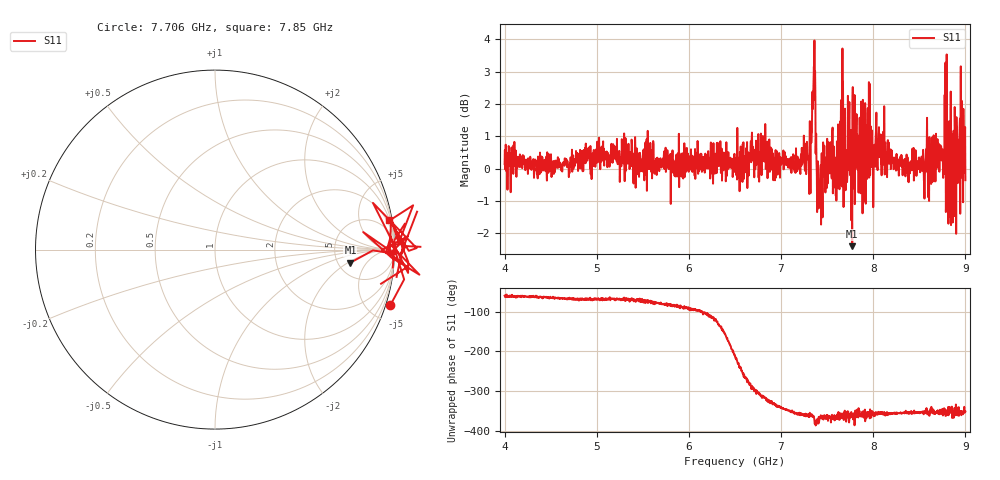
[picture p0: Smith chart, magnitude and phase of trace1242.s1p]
! Created with skrf 1.8.0 (http://scikit-rf.org).
# Hz S RI R 50.0
!freq ReS11 ImS11
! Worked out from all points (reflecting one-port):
!   1601 points, 4 GHz to 9 GHz, reference 50 ohm
!   lowest |S11| = -2.4 dB at 7.772 GHz (marker M1), VSWR 7.26, Z = 324 - j111 ohm
!   phase of S11 starts at -60 deg and turns -292 deg over the sweep
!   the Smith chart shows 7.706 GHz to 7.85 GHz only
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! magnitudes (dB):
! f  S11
! 4 GHz  0.1
! 4.625 GHz  -0.1
! 5.25 GHz  -0.4
! 5.875 GHz  0.3
! 6.5 GHz  0.0
! 6.806 GHz  0.6
! 6.941 GHz  0.6
! 7.125 GHz  0.3
! 7.294 GHz  0.3
! 7.322 GHz  0.9
! 7.347 GHz  2.0
! 7.362 GHz  4.0
! 7.409 GHz  -1.2
! 7.534 GHz  0.4
! 7.616 GHz  -0.6
! 7.669 GHz  0.3
! 7.75 GHz  -0.2
! 7.772 GHz  -2.4
! 7.8 GHz  -1.1
! 7.962 GHz  2.6
! 7.997 GHz  0.6
! 8.05 GHz  0.9
! 8.375 GHz  -0.1
! 8.612 GHz  0.9
! 8.759 GHz  -0.3
! 8.856 GHz  0.1
! 8.972 GHz  1.0
! 9 GHz  -0.4
